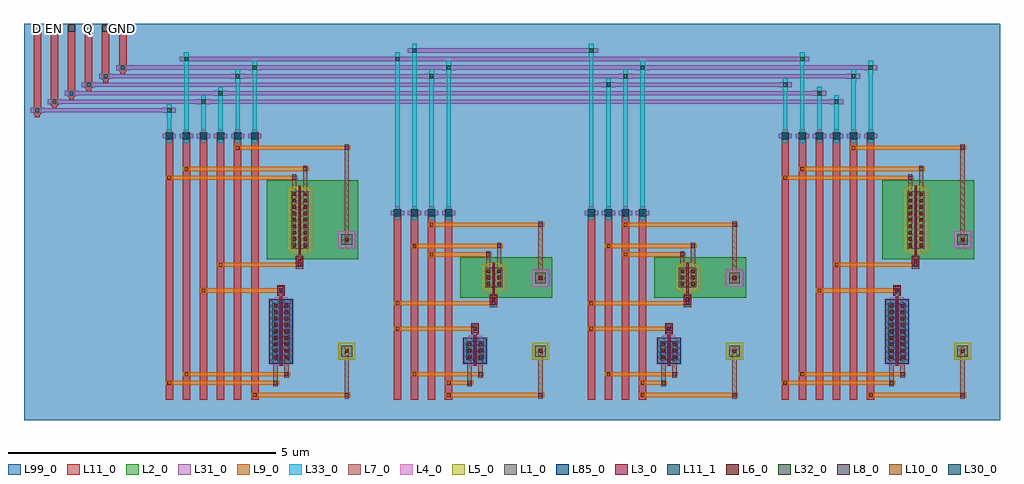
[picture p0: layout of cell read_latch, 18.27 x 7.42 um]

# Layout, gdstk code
import gdstk
lib = gdstk.Library(unit=1e-6, precision=5e-10)
def R(c, l, rs):  # rectangles x0, y0, x1, y1
    for r in rs: c.add(gdstk.rectangle(r[:2], r[2:], *l))
def A(c, l, x, y, w, h, nx, ny, dx, dy):  # array of equal rectangles
    R(c, l, [(x+i*dx, y+j*dy, x+i*dx+w, y+j*dy+h) for i in range(nx) for j in range(ny)])
L1_0 = (1, 0)
L2_0 = (2, 0)
L3_0 = (3, 0)
L4_0 = (4, 0)
L5_0 = (5, 0)
L6_0 = (6, 0)
L7_0 = (7, 0)
L8_0 = (8, 0)
L9_0 = (9, 0)
L10_0 = (10, 0)
L11_0 = (11, 0)
L11_1 = (11, 1)
L30_0 = (30, 0)
L31_0 = (31, 0)
L32_0 = (32, 0)
L33_0 = (33, 0)
L85_0 = (85, 0)
L99_0 = (99, 0)

nmos1v_cdns_794040247060 = lib.new_cell('nmos1v_CDNS_794040247060')
R(nmos1v_cdns_794040247060, L1_0, [(-0.14,0,0,1.08), (0,0,0.045,1.08), (0.045,0,0.185,1.08)])
R(nmos1v_cdns_794040247060, L3_0, [(0,-0.1,0.045,-0.05), (0,-0.05,0.045,0), (0,0,0.045,1.08), (0,1.08,0.045,1.13), (0,1.13,0.045,1.18)])
R(nmos1v_cdns_794040247060, L4_0, [(-0.1,-0.1,0.145,1.18), (-0.21,-0.07,0.255,1.15)])
A(nmos1v_cdns_794040247060, L6_0, -0.11, 0.03, 0.06, 0.06, 1, 9, 0, 0.12)
A(nmos1v_cdns_794040247060, L6_0, 0.095, 0.03, 0.06, 0.06, 1, 9, 0, 0.12)
R(nmos1v_cdns_794040247060, L7_0, [(-0.11,0,-0.05,1.08), (0.095,0,0.155,1.08)])
R(nmos1v_cdns_794040247060, L85_0, [(-0.2,-0.06,0.245,1.14)])

pmos1v_cdns_794040247061 = lib.new_cell('pmos1v_CDNS_794040247061')
R(pmos1v_cdns_794040247061, L1_0, [(-0.14,0,0,1.08), (0,0,0.045,1.08), (0.045,0,0.185,1.08)])
R(pmos1v_cdns_794040247061, L2_0, [(-0.2,-0.06,0.245,1.14)])
R(pmos1v_cdns_794040247061, L3_0, [(0,-0.1,0.045,-0.05), (0,-0.05,0.045,0), (0,0,0.045,1.08), (0,1.08,0.045,1.13), (0,1.13,0.045,1.18)])
R(pmos1v_cdns_794040247061, L5_0, [(-0.1,-0.1,0.145,1.18), (-0.21,-0.07,0.255,1.15)])
A(pmos1v_cdns_794040247061, L6_0, -0.11, 0.03, 0.06, 0.06, 1, 9, 0, 0.12)
A(pmos1v_cdns_794040247061, L6_0, 0.095, 0.03, 0.06, 0.06, 1, 9, 0, 0.12)
R(pmos1v_cdns_794040247061, L7_0, [(-0.11,0,-0.05,1.08), (0.095,0,0.155,1.08)])

c_tg = lib.new_cell('tg')
R(c_tg, L1_0, [(3.47,0.84,3.67,1.04), (3.47,2.93,3.67,3.13)])
R(c_tg, L2_0, [(2.07,2.66,3.79,4.14)])
R(c_tg, L3_0, [(2.32,1.9,2.365,2.18), (2.27,1.98,2.41,2.18), (2.62,2.53,2.76,2.73), (2.67,2.53,2.715,2.81)])
R(c_tg, L4_0, [(3.41,2.87,3.73,3.19)])
R(c_tg, L5_0, [(3.41,0.78,3.73,1.1)])
R(c_tg, L6_0, [(3.54,0.91,3.6,0.97), (2.31,2.05,2.37,2.11), (2.66,2.6,2.72,2.66), (3.54,3,3.6,3.06)])
R(c_tg, L7_0, [(3.53,0.055,3.61,0.185), (3.53,0.08,3.61,0.98), (2.2,0.285,2.28,0.415), (2.2,0.31,2.28,1.35), (2.405,0.445,2.485,0.575), (2.405,0.47,2.485,1.35), (3.53,0.875,3.61,1.005), (2.27,2.005,2.41,2.155), (2.27,2.005,2.41,2.155), (2.27,2.01,2.41,2.15), (2.62,2.485,2.76,2.635), (2.62,2.49,2.76,2.7), (2.62,2.555,2.76,2.705), (3.53,2.965,3.61,3.095), (3.53,2.99,3.61,4.79), (2.55,3.36,2.63,4.23), (2.755,3.36,2.835,4.39), (2.55,4.125,2.63,4.255), (2.755,4.285,2.835,4.415), (3.53,4.685,3.61,4.815)])
R(c_tg, L8_0, [(3.535,0.085,3.605,0.155), (2.205,0.315,2.275,0.385), (2.41,0.475,2.48,0.545), (2.305,2.045,2.375,2.115), (2.655,2.525,2.725,2.595), (2.555,4.155,2.625,4.225), (2.76,4.315,2.83,4.385), (3.535,4.715,3.605,4.785)])
R(c_tg, L9_0, [(1.785,0.08,1.915,0.16), (1.81,0.08,3.61,0.16), (3.505,0.08,3.635,0.16), (0.185,0.31,0.315,0.39), (0.21,0.31,2.28,0.39), (2.175,0.31,2.305,0.39), (0.505,0.47,0.635,0.55), (0.53,0.47,2.485,0.55), (2.38,0.47,2.51,0.55), (0.825,2.04,0.955,2.12), (0.85,2.04,2.38,2.12), (2.275,2.04,2.405,2.12), (1.145,2.52,1.275,2.6), (1.17,2.52,2.73,2.6), (2.625,2.52,2.755,2.6), (0.185,4.15,0.315,4.23), (0.21,4.15,2.63,4.23), (2.525,4.15,2.655,4.23), (0.505,4.31,0.635,4.39), (0.53,4.31,2.835,4.39), (2.73,4.31,2.86,4.39), (1.465,4.71,1.595,4.79), (1.49,4.71,3.61,4.79), (3.505,4.71,3.635,4.79)])
R(c_tg, L10_0, [(1.815,0.085,1.885,0.155), (0.215,0.315,0.285,0.385), (0.535,0.475,0.605,0.545), (0.855,2.045,0.925,2.115), (1.175,2.525,1.245,2.595), (0.215,4.155,0.285,4.225), (0.535,4.315,0.605,4.385), (1.495,4.715,1.565,4.785)])
A(c_tg, L11_0, 0.18, 0.03, 0.14, 5.01, 6, 1, 0.32, 0)
R(c_tg, L11_0, [(1.81,0.055,1.89,0.185), (0.21,0.285,0.29,0.415), (0.53,0.445,0.61,0.575), (0.85,2.015,0.93,2.145), (1.17,2.495,1.25,2.625), (0.21,4.125,0.29,4.255), (0.53,4.285,0.61,4.415), (1.49,4.685,1.57,4.815)])
A(c_tg, L11_1, 0.185, 4.905, 0.13, 0.13, 6, 1, 0.32, 0)
R(c_tg, L99_0, [(0,0,3.87,5.05)])
c_tg.add(gdstk.Reference(nmos1v_cdns_794040247060, (2.32,0.77)))
c_tg.add(gdstk.Reference(pmos1v_cdns_794040247061, (2.67,2.86)))
c_tg.add(gdstk.Label('GND', (1.85,4.97), layer=11, texttype=3))
c_tg.add(gdstk.Label('VDD', (1.53,4.97), layer=11, texttype=3))
c_tg.add(gdstk.Label('ENB', (1.21,4.97), layer=11, texttype=3))
c_tg.add(gdstk.Label('EN', (0.89,4.97), layer=11, texttype=3))
c_tg.add(gdstk.Label('B', (0.57,4.97), layer=11, texttype=3))
c_tg.add(gdstk.Label('A', (0.25,4.97), layer=11, texttype=3))

nmos1v_cdns_794040247062 = lib.new_cell('nmos1v_CDNS_794040247062')
R(nmos1v_cdns_794040247062, L1_0, [(-0.14,0,0,0.36), (0,0,0.045,0.36), (0.045,0,0.185,0.36)])
R(nmos1v_cdns_794040247062, L3_0, [(0,-0.1,0.045,-0.05), (0,-0.05,0.045,0), (0,0,0.045,0.36), (0,0.36,0.045,0.41), (0,0.41,0.045,0.46)])
R(nmos1v_cdns_794040247062, L4_0, [(-0.1,-0.1,0.145,0.46), (-0.21,-0.07,0.255,0.43)])
A(nmos1v_cdns_794040247062, L6_0, -0.11, 0.03, 0.06, 0.06, 1, 3, 0, 0.12)
A(nmos1v_cdns_794040247062, L6_0, 0.095, 0.03, 0.06, 0.06, 1, 3, 0, 0.12)
R(nmos1v_cdns_794040247062, L7_0, [(-0.11,0,-0.05,0.36), (0.095,0,0.155,0.36)])
R(nmos1v_cdns_794040247062, L85_0, [(-0.2,-0.06,0.245,0.42)])

pmos1v_cdns_794040247063 = lib.new_cell('pmos1v_CDNS_794040247063')
R(pmos1v_cdns_794040247063, L1_0, [(-0.14,0,0,0.36), (0,0,0.045,0.36), (0.045,0,0.185,0.36)])
R(pmos1v_cdns_794040247063, L2_0, [(-0.2,-0.06,0.245,0.42)])
R(pmos1v_cdns_794040247063, L3_0, [(0,-0.1,0.045,-0.05), (0,-0.05,0.045,0), (0,0,0.045,0.36), (0,0.36,0.045,0.41), (0,0.41,0.045,0.46)])
R(pmos1v_cdns_794040247063, L5_0, [(-0.1,-0.1,0.145,0.46), (-0.21,-0.07,0.255,0.43)])
A(pmos1v_cdns_794040247063, L6_0, -0.11, 0.03, 0.06, 0.06, 1, 3, 0, 0.12)
A(pmos1v_cdns_794040247063, L6_0, 0.095, 0.03, 0.06, 0.06, 1, 3, 0, 0.12)
R(pmos1v_cdns_794040247063, L7_0, [(-0.11,0,-0.05,0.36), (0.095,0,0.155,0.36)])

inv = lib.new_cell('inv')
R(inv, L1_0, [(2.83,0.84,3.03,1.04), (2.83,2.21,3.03,2.41)])
R(inv, L2_0, [(1.43,1.94,3.15,2.7)])
R(inv, L3_0, [(1.68,1.18,1.725,1.46), (1.63,1.26,1.77,1.46), (1.98,1.81,2.12,2.01), (2.03,1.81,2.075,2.09)])
R(inv, L4_0, [(2.77,2.15,3.09,2.47)])
R(inv, L5_0, [(2.77,0.78,3.09,1.1)])
R(inv, L6_0, [(2.9,0.91,2.96,0.97), (1.67,1.33,1.73,1.39), (2.02,1.88,2.08,1.94), (2.9,2.28,2.96,2.34)])
R(inv, L7_0, [(2.89,0.055,2.97,0.185), (2.89,0.08,2.97,0.98), (1.56,0.285,1.64,0.415), (1.56,0.31,1.64,0.99), (1.765,0.445,1.845,0.575), (1.765,0.47,1.845,0.99), (2.89,0.875,2.97,1.005), (1.63,1.285,1.77,1.435), (1.63,1.285,1.77,1.435), (1.63,1.29,1.77,1.43), (1.98,1.765,2.12,1.915), (1.98,1.77,2.12,1.98), (1.98,1.835,2.12,1.985), (2.89,2.245,2.97,2.375), (2.89,2.27,2.97,3.35), (1.91,2.28,1.99,2.79), (2.115,2.28,2.195,2.95), (1.91,2.685,1.99,2.815), (2.115,2.845,2.195,2.975), (2.89,3.245,2.97,3.375)])
R(inv, L8_0, [(2.895,0.085,2.965,0.155), (1.565,0.315,1.635,0.385), (1.77,0.475,1.84,0.545), (1.665,1.325,1.735,1.395), (2.015,1.805,2.085,1.875), (1.915,2.715,1.985,2.785), (2.12,2.875,2.19,2.945), (2.895,3.275,2.965,3.345)])
R(inv, L9_0, [(1.145,0.08,1.275,0.16), (1.17,0.08,2.97,0.16), (2.865,0.08,2.995,0.16), (1.145,0.31,1.275,0.39), (1.17,0.31,1.64,0.39), (1.535,0.31,1.665,0.39), (0.505,0.47,0.635,0.55), (0.53,0.47,1.845,0.55), (1.74,0.47,1.87,0.55), (0.185,1.32,0.315,1.4), (0.21,1.32,1.74,1.4), (1.635,1.32,1.765,1.4), (0.185,1.8,0.315,1.88), (0.21,1.8,2.09,1.88), (1.985,1.8,2.115,1.88), (0.825,2.71,0.955,2.79), (0.85,2.71,1.99,2.79), (1.885,2.71,2.015,2.79), (0.505,2.87,0.635,2.95), (0.53,2.87,2.195,2.95), (2.09,2.87,2.22,2.95), (0.825,3.27,0.955,3.35), (0.85,3.27,2.97,3.35), (2.865,3.27,2.995,3.35)])
R(inv, L10_0, [(1.175,0.085,1.245,0.155), (1.175,0.315,1.245,0.385), (0.535,0.475,0.605,0.545), (0.215,1.325,0.285,1.395), (0.215,1.805,0.285,1.875), (0.855,2.715,0.925,2.785), (0.535,2.875,0.605,2.945), (0.855,3.275,0.925,3.345)])
A(inv, L11_0, 0.18, 0.03, 0.14, 3.57, 4, 1, 0.32, 0)
R(inv, L11_0, [(1.17,0.055,1.25,0.185), (1.17,0.285,1.25,0.415), (0.53,0.445,0.61,0.575), (0.21,1.295,0.29,1.425), (0.21,1.775,0.29,1.905), (0.85,2.685,0.93,2.815), (0.53,2.845,0.61,2.975), (0.85,3.245,0.93,3.375)])
A(inv, L11_1, 0.185, 3.465, 0.13, 0.13, 4, 1, 0.32, 0)
R(inv, L99_0, [(0,0,3.23,3.61)])
inv.add(gdstk.Reference(nmos1v_cdns_794040247062, (1.68,0.77)))
inv.add(gdstk.Reference(pmos1v_cdns_794040247063, (2.03,2.14)))
inv.add(gdstk.Label('GND', (1.21,3.53), layer=11, texttype=3))
inv.add(gdstk.Label('VDD', (0.89,3.53), layer=11, texttype=3))
inv.add(gdstk.Label('OUT', (0.57,3.53), layer=11, texttype=3))
inv.add(gdstk.Label('IN', (0.25,3.53), layer=11, texttype=3))

read_latch = lib.new_cell('read_latch')
A(read_latch, L11_0, 6.945, 3.755, 0.09, 0.25, 4, 1, 0.32, 0)
A(read_latch, L11_0, 10.575, 3.755, 0.09, 0.25, 4, 1, 0.32, 0)
A(read_latch, L11_0, 2.675, 5.195, 0.09, 0.25, 6, 1, 0.32, 0)
A(read_latch, L11_0, 14.205, 5.195, 0.09, 0.25, 6, 1, 0.32, 0)
R(read_latch, L11_0, [(0.205,5.675,0.295,5.925), (0.18,5.73,0.32,7.41), (0.525,5.835,0.615,6.085), (0.5,5.89,0.64,7.41), (0.845,5.995,0.935,6.245), (0.82,6.05,0.96,7.41), (1.165,6.155,1.255,6.405), (1.14,6.21,1.28,7.41), (1.485,6.315,1.575,6.565), (1.46,6.37,1.6,7.41), (1.805,6.475,1.895,6.725), (1.78,6.53,1.92,7.41)])
A(read_latch, L11_1, 0.185, 7.275, 0.13, 0.13, 6, 1, 0.32, 0)
A(read_latch, L30_0, 6.955, 3.845, 0.07, 0.07, 4, 1, 0.32, 0)
A(read_latch, L30_0, 10.585, 3.845, 0.07, 0.07, 4, 1, 0.32, 0)
A(read_latch, L30_0, 2.685, 5.285, 0.07, 0.07, 6, 1, 0.32, 0)
A(read_latch, L30_0, 14.215, 5.285, 0.07, 0.07, 6, 1, 0.32, 0)
R(read_latch, L30_0, [(0.215,5.765,0.285,5.835), (0.535,5.925,0.605,5.995), (0.855,6.085,0.925,6.155), (1.175,6.245,1.245,6.315), (1.495,6.405,1.565,6.475), (1.815,6.565,1.885,6.635)])
A(read_latch, L31_0, 3.875, 6.395, 0.25, 0.09, 3, 1, 3.63, 0)
A(read_latch, L31_0, 4.195, 6.555, 0.25, 0.09, 3, 1, 3.63, 0)
R(read_latch, L31_0, [(6.865,3.835,7.115,3.925), (6.865,3.835,7.115,3.925), (7.185,3.835,7.435,3.925), (7.185,3.835,7.435,3.925), (7.505,3.835,7.755,3.925), (7.505,3.835,7.755,3.925), (7.825,3.835,8.075,3.925), (7.825,3.835,8.075,3.925), (10.495,3.835,10.745,3.925), (10.495,3.835,10.745,3.925), (10.815,3.835,11.065,3.925), (10.815,3.835,11.065,3.925), (11.135,3.835,11.385,3.925), (11.135,3.835,11.385,3.925), (11.455,3.835,11.705,3.925), (11.455,3.835,11.705,3.925), (2.595,5.275,2.845,5.365), (2.595,5.275,2.845,5.365), (2.915,5.275,3.165,5.365), (2.915,5.275,3.165,5.365), (3.235,5.275,3.485,5.365), (3.235,5.275,3.485,5.365), (3.555,5.275,3.805,5.365), (3.555,5.275,3.805,5.365), (3.875,5.275,4.125,5.365), (3.875,5.275,4.125,5.365), (4.195,5.275,4.445,5.365), (4.195,5.275,4.445,5.365), (14.125,5.275,14.375,5.365), (14.125,5.275,14.375,5.365), (14.445,5.275,14.695,5.365), (14.445,5.275,14.695,5.365), (14.765,5.275,15.015,5.365), (14.765,5.275,15.015,5.365), (15.085,5.275,15.335,5.365), (15.085,5.275,15.335,5.365), (15.405,5.275,15.655,5.365), (15.405,5.275,15.655,5.365), (15.725,5.275,15.975,5.365), (15.725,5.275,15.975,5.365), (0.125,5.755,0.375,5.845), (2.595,5.755,2.845,5.845), (0.21,5.76,2.76,5.84), (0.445,5.915,0.695,6.005), (3.235,5.915,3.485,6.005), (15.085,5.915,15.335,6.005), (0.53,5.92,15.25,6), (0.765,6.075,1.015,6.165), (3.555,6.075,3.805,6.165), (14.765,6.075,15.015,6.165), (0.85,6.08,14.93,6.16), (1.085,6.235,1.335,6.325), (10.815,6.235,11.065,6.325), (14.125,6.235,14.375,6.325), (1.17,6.24,14.29,6.32), (1.405,6.395,1.655,6.485), (15.405,6.395,15.655,6.485), (1.49,6.4,15.57,6.48), (1.725,6.555,1.975,6.645), (15.725,6.555,15.975,6.645), (1.81,6.56,15.89,6.64), (2.915,6.715,3.165,6.805), (6.865,6.715,7.115,6.805), (14.445,6.715,14.695,6.805), (3,6.72,14.61,6.8), (7.185,6.875,7.435,6.965), (10.495,6.875,10.745,6.965), (7.27,6.88,10.66,6.96)])
A(read_latch, L32_0, 6.955, 3.845, 0.07, 0.07, 4, 1, 0.32, 0)
A(read_latch, L32_0, 10.585, 3.845, 0.07, 0.07, 4, 1, 0.32, 0)
A(read_latch, L32_0, 2.685, 5.285, 0.07, 0.07, 6, 1, 0.32, 0)
A(read_latch, L32_0, 14.215, 5.285, 0.07, 0.07, 6, 1, 0.32, 0)
A(read_latch, L32_0, 3.965, 6.405, 0.07, 0.07, 3, 1, 3.63, 0)
A(read_latch, L32_0, 4.285, 6.565, 0.07, 0.07, 3, 1, 3.63, 0)
R(read_latch, L32_0, [(2.685,5.765,2.755,5.835), (3.325,5.925,3.395,5.995), (15.175,5.925,15.245,5.995), (3.645,6.085,3.715,6.155), (14.855,6.085,14.925,6.155), (10.905,6.245,10.975,6.315), (14.215,6.245,14.285,6.315), (15.495,6.405,15.565,6.475), (15.815,6.565,15.885,6.635), (3.005,6.725,3.075,6.795), (6.955,6.725,7.025,6.795), (14.535,6.725,14.605,6.795), (7.275,6.885,7.345,6.955), (10.585,6.885,10.655,6.955)])
A(read_latch, L33_0, 6.945, 3.755, 0.09, 0.25, 4, 1, 0.32, 0)
A(read_latch, L33_0, 10.575, 3.755, 0.09, 0.25, 4, 1, 0.32, 0)
A(read_latch, L33_0, 2.675, 5.195, 0.09, 0.25, 6, 1, 0.32, 0)
A(read_latch, L33_0, 14.205, 5.195, 0.09, 0.25, 6, 1, 0.32, 0)
A(read_latch, L33_0, 3.955, 6.315, 0.09, 0.25, 3, 1, 3.63, 0)
A(read_latch, L33_0, 4.275, 6.475, 0.09, 0.25, 3, 1, 3.63, 0)
R(read_latch, L33_0, [(6.95,3.84,7.03,6.8), (7.27,3.84,7.35,6.96), (7.59,3.84,7.67,6.48), (7.91,3.84,7.99,6.64), (10.58,3.84,10.66,6.96), (10.9,3.84,10.98,6.32), (11.22,3.84,11.3,6.48), (11.54,3.84,11.62,6.64), (2.68,5.28,2.76,5.84), (3,5.28,3.08,6.8), (3.32,5.28,3.4,6), (3.64,5.28,3.72,6.16), (3.96,5.28,4.04,6.48), (4.28,5.28,4.36,6.64), (14.21,5.28,14.29,6.32), (14.53,5.28,14.61,6.8), (14.85,5.28,14.93,6.16), (15.17,5.28,15.25,6), (15.49,5.28,15.57,6.48), (15.81,5.28,15.89,6.64), (2.675,5.675,2.765,5.925), (3.315,5.835,3.405,6.085), (15.165,5.835,15.255,6.085), (3.635,5.995,3.725,6.245), (14.845,5.995,14.935,6.245), (10.895,6.155,10.985,6.405), (14.205,6.155,14.295,6.405), (15.485,6.315,15.575,6.565), (15.805,6.475,15.895,6.725), (2.995,6.635,3.085,6.885), (6.945,6.635,7.035,6.885), (14.525,6.635,14.615,6.885), (7.265,6.795,7.355,7.045), (10.575,6.795,10.665,7.045)])
R(read_latch, L99_0, [(0,0,18.27,7.42)])
read_latch.add(gdstk.Reference(c_tg, (14,0.35)))
read_latch.add(gdstk.Reference(c_tg, (2.47,0.35)))
read_latch.add(gdstk.Reference(inv, (10.37,0.35)))
read_latch.add(gdstk.Reference(inv, (6.74,0.35)))
read_latch.add(gdstk.Label('GND', (1.85,7.34), layer=11, texttype=3))
read_latch.add(gdstk.Label('VDD', (1.53,7.34), layer=11, texttype=3))
read_latch.add(gdstk.Label('Q', (1.21,7.34), layer=11, texttype=3))
read_latch.add(gdstk.Label('ENB', (0.89,7.34), layer=11, texttype=3))
read_latch.add(gdstk.Label('EN', (0.57,7.34), layer=11, texttype=3))
read_latch.add(gdstk.Label('D', (0.25,7.34), layer=11, texttype=3))

lib.write_gds('read_latch.gds')
